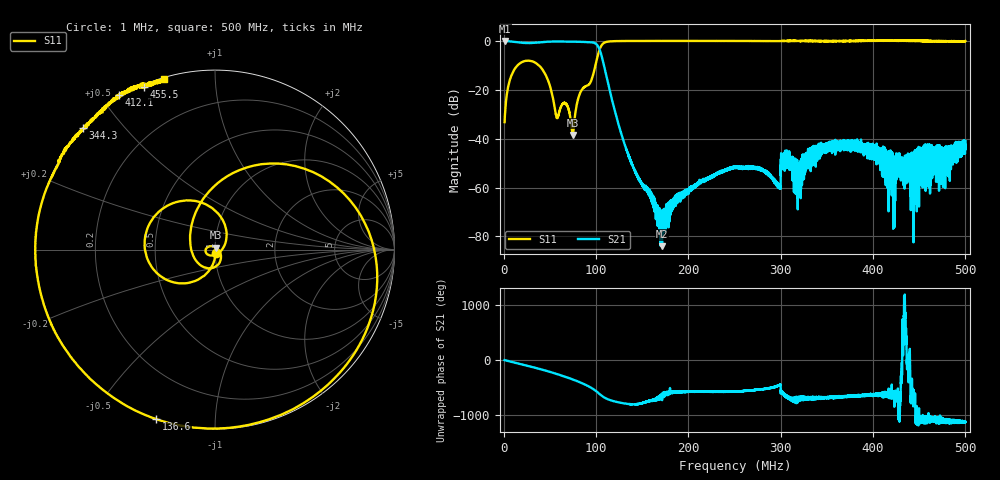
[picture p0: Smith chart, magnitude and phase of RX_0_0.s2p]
! NanoVNA-App
! Date: 2026-08-26 20:47:20
! Start: 1MHz Stop: 500MHz Points: 6401
! S-Parameter data: F S11 S21 S12 S22
# Hz S RI R 50
!  Frequency  S11_Real  S11_Imag  S21_Real  S21_Imag  S12_Real  S12_Imag  S22_Real  S22_Imag
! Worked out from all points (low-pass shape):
!   6401 points, 1 MHz to 500 MHz, reference 50 ohm
!   highest |S21| = -0.02 dB at 1 MHz (marker M1); lowest = -84.0 dB at 171.5 MHz (marker M2)
!   |S21| within 3 dB of the highest: start of sweep to 103.3 MHz
!   lowest |S11| = -38.5 dB at 74.76 MHz (marker M3), VSWR 1.02, Z = 50.7 + j1 ohm
!   |S11| at or under -10 dB: start of sweep to 14.99 MHz; 38.17 MHz to 99.35 MHz (61.18 MHz wide, 89 % of centre)
!   S12 and S22 are empty: the file has one direction only
!   S11 on the Smith chart (normalised r, x): 1 MHz: 1.01, -0.04; 136.6 MHz: 0.00, -0.71; 344.3 MHz: 0.00, +0.39; 412.1 MHz: -0.01, +0.56; 455.5 MHz: 0.01, +0.65; 500 MHz: 0.01, +0.74
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1000000  0.00297 -0.0216  0.995 -0.0809  0 0  0 0
2.127188e7  -0.3767 -0.0519  -0.0152 -0.9136  0 0  0 0
4.279125e7  -0.0363 0.2446  -0.9482 0.0391  0 0  0 0
5.986641e7  -0.00973 -0.032  -0.0214 0.9751  0 0  0 0
7.475844e7  0.00668 0.00991  0.9643 0.0949  0 0  0 0
8.419266e7  -0.00143 -0.0975  0.5096 -0.8115  0 0  0 0
9.721344e7  -0.1181 0.1793  -0.9125 -0.1378  0 0  0 0
1.028272e8  0.3286 0.4802  -0.3256 0.6658  0 0  0 0
1.092986e8  0.9003 -0.2257  0.2267 0.1575  0 0  0 0
1.190447e8  0.3928 -0.909  0.0405 -0.022  0 0  0 0
1.365877e8  -0.3267 -0.9446  0.000629 -0.00391  0 0  0 0
1.673853e8  -0.825 -0.5677  0.000314 0.000138  0 0  0 0
1.715177e8  -0.8578 -0.5175  6.22e-05 -1.1e-05  0 0  0 0
2.505e8  -0.9772 0.2143  -0.00221 0.0015  0 0  0 0
2.974372e8  -0.8719 0.4788  -0.00033 -0.000956  0 0  0 0
3.032848e8  -0.8605 0.5112  -0.00148 0.00302  0 0  0 0
3.336927e8  -0.774 0.636  0.00636 0.00138  0 0  0 0
3.442964e8  -0.7361 0.6765  0.00501 0.00211  0 0  0 0
4.120512e8  -0.5326 0.8615  0.00171 0.00244  0 0  0 0
4.168853e8  -0.5189 0.8716  0.00148 0.00278  0 0  0 0
4.554798e8  -0.3969 0.907  0.00118 0.0013  0 0  0 0
5e8  -0.2845 0.9508  0.00621 -0.00638  0 0  0 0
